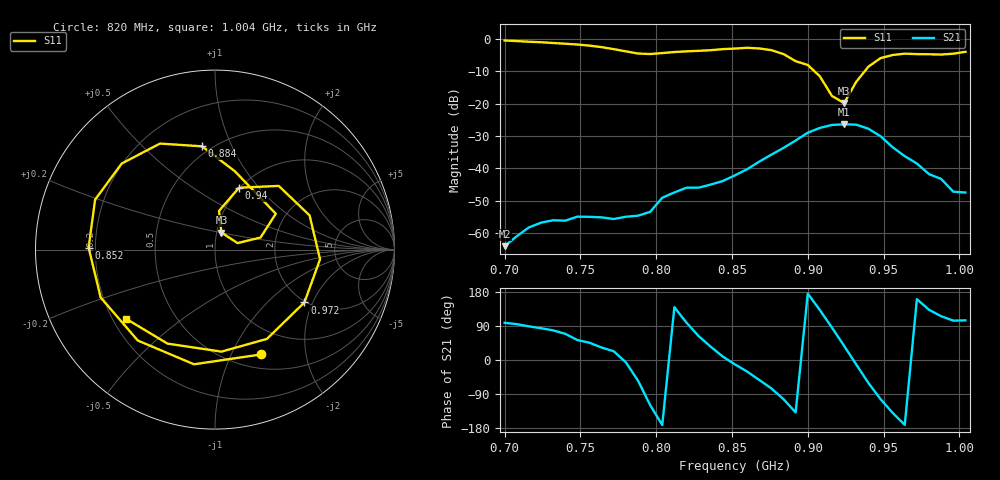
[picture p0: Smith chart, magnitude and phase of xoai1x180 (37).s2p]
# Hz S RI R 50
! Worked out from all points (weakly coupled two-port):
!   39 points, 700 MHz to 1.004 GHz, reference 50 ohm
!   highest |S21| = -26.41 dB at 924 MHz (marker M1); lowest = -64.0 dB at 700 MHz (marker M2)
!   lowest |S11| = -19.9 dB at 924 MHz (marker M3), VSWR 1.23, Z = 52.7 + j10.1 ohm
!   |S11| at or under -10 dB: 904.3 MHz to 937.7 MHz (33.34 MHz wide, 3.62 % of centre)
!   S12 and S22 are empty: the file has one direction only
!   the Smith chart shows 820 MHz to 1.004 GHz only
!   S11 on the Smith chart (normalised r, x): 820 MHz: 0.66, -1.31; 852 MHz: 0.17, +0.01; 884 MHz: 0.45, +0.78; 940 MHz: 0.99, +0.79; 972 MHz: 1.97, -1.74; 1.004 GHz: 0.25, -0.32
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7e8  0.7625 0.5489  -9.01e-05 0.000625  0 0  0 0
7.24e8  0.8464 -0.2483  0.000155 0.00145  0 0  0 0
7.4e8  0.4554 -0.7013  0.000558 0.00146  0 0  0 0
7.56e8  -0.1951 -0.7568  0.00125 0.00128  0 0  0 0
7.72e8  -0.6634 -0.1897  0.00152 0.000648  0 0  0 0
7.8e8  -0.5931 0.2337  0.00178 -0.000193  0 0  0 0
7.88e8  -0.2335 0.5424  0.00108 -0.00152  0 0  0 0
7.96e8  0.255 0.521  -0.00103 -0.00187  0 0  0 0
8.04e8  0.5798 0.1565  -0.00349 -0.000513  0 0  0 0
8.2e8  0.2569 -0.584  -0.000739 0.00498  0 0  0 0
8.36e8  -0.4302 -0.5065  0.00461 0.00322  0 0  0 0
8.52e8  -0.7042 0.0114  0.00766 -0.00158  0 0  0 0
8.68e8  -0.5201 0.4793  0.00771 -0.0101  0 0  0 0
8.84e8  -0.0715 0.5753  -0.00478 -0.0201  0 0  0 0
9e8  0.3387 0.1998  -0.0354 0.00288  0 0  0 0
9.08e8  0.2538 0.0673  -0.028 0.0314  0 0  0 0
9.24e8  0.0355 0.0952  0.0381 0.0289  0 0  0 0
9.4e8  0.1337 0.3447  0.0202 -0.0356  0 0  0 0
9.56e8  0.527 0.1905  -0.0161 -0.0138  0 0  0 0
9.72e8  0.4982 -0.2942  -0.0112 0.00395  0 0  0 0
9.88e8  0.0357 -0.5685  -0.00296 0.0062  0 0  0 0
1.004e9  -0.4964 -0.385  -0.00107 0.00411  0 0  0 0
